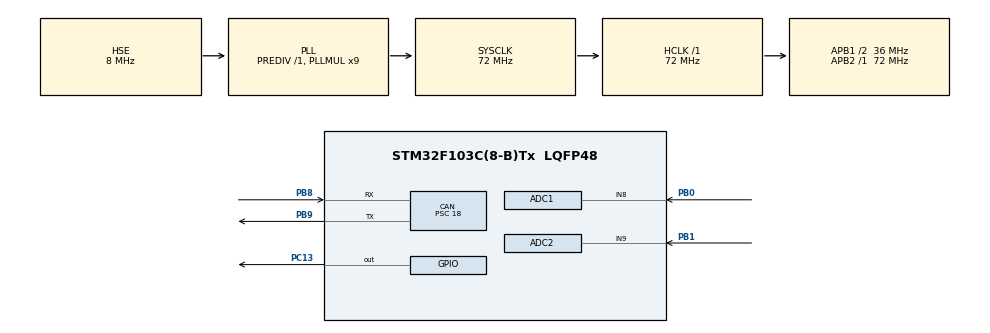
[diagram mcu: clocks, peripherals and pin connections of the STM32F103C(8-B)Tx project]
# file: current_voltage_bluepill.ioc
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ADC1.Channel-0\#ChannelRegularConversion=ADC_CHANNEL_8
ADC1.ContinuousConvMode=ENABLE
ADC1.NbrOfConversionFlag=1
ADC1.Rank-0\#ChannelRegularConversion=1
ADC1.SamplingTime-0\#ChannelRegularConversion=ADC_SAMPLETIME_1CYCLE_5
ADC1.master=1
ADC2.Channel-0\#ChannelRegularConversion=ADC_CHANNEL_9
ADC2.ContinuousConvMode=ENABLE
ADC2.NbrOfConversionFlag=1
ADC2.Rank-0\#ChannelRegularConversion=1
ADC2.SamplingTime-0\#ChannelRegularConversion=ADC_SAMPLETIME_1CYCLE_5
CAN.BS1=CAN_BS1_2TQ
CAN.CalculateBaudRate=500000
CAN.CalculateTimeBit=2000
CAN.CalculateTimeQuantum=500.0
CAN.Prescaler=18
Mcu.Family=STM32F1
Mcu.Name=STM32F103C(8-B)Tx
Mcu.Package=LQFP48
NVIC.PriorityGroup=NVIC_PRIORITYGROUP_4
PB0.Signal=ADCx_IN8
PB1.Signal=ADCx_IN9
PB8.Mode=CAN_Activate
PB8.Signal=CAN_RX
PB9.Mode=CAN_Activate
PB9.Signal=CAN_TX
PC13-TAMPER-RTC.Signal=GPIO_Output
PD0-OSC_IN.Mode=HSE-External-Oscillator
PD0-OSC_IN.Signal=RCC_OSC_IN
PD1-OSC_OUT.Mode=HSE-External-Oscillator
PD1-OSC_OUT.Signal=RCC_OSC_OUT
ProjectManager.HeapSize=0x200
ProjectManager.StackSize=0x400
ProjectManager.TargetToolchain=STM32CubeIDE
RCC.ADCPresc=RCC_ADCPCLK2_DIV6
RCC.AHBFreq_Value=72000000
RCC.APB1CLKDivider=RCC_HCLK_DIV2
RCC.APB1Freq_Value=36000000
RCC.APB1TimFreq_Value=72000000
RCC.APB2Freq_Value=72000000
RCC.APB2TimFreq_Value=72000000
RCC.HCLKFreq_Value=72000000
RCC.PLLMUL=RCC_PLL_MUL9
RCC.PLLSourceVirtual=RCC_PLLSOURCE_HSE
RCC.SYSCLKFreq_VALUE=72000000
RCC.SYSCLKSource=RCC_SYSCLKSOURCE_PLLCLK
RCC.USBFreq_Value=72000000
SH.ADCx_IN8.0=ADC1_IN8,IN8
SH.ADCx_IN9.0=ADC2_IN9,IN9
VP_SYS_VS_ND.Mode=No_Debug
board=custom

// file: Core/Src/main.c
/* USER CODE BEGIN Header */
/**
  ******************************************************************************
  * @file           : main.c
  * @brief          : Main program body
  ******************************************************************************
  * @attention
  *
  * Copyright (c) 2024 STMicroelectronics.
  * All rights reserved.
  *
  * This software is licensed under terms that can be found in the LICENSE file
  * in the root directory of this software component.
  * If no LICENSE file comes with this software, it is provided AS-IS.
  *
  ******************************************************************************
  */
/* USER CODE END Header */
#include "main.h"

ADC_HandleTypeDef hadc1;
ADC_HandleTypeDef hadc2;

CAN_HandleTypeDef hcan;

/* USER CODE BEGIN PV */
float AcsValueF;
float sensitivity = 0.066; // 0.1 for 20A Model
float rawVoltage;
float current;
uint16_t readValue;
int Switch_Flag = 0;
CAN_TxHeaderTypeDef TxHeader;
uint8_t TxData[4];
uint32_t TxMailBox;
uint32_t random_seed = 0; // Initialize a seed value

/* USER CODE END PV */

void SystemClock_Config(void);
static void MX_GPIO_Init(void);
static void MX_ADC1_Init(void);
static void MX_ADC2_Init(void);
static void MX_CAN_Init(void);
/* USER CODE BEGIN PFP */
// Function to generate a pseudo-random number
uint32_t generate_random_number() {
    // Using a simple linear congruential generator
    random_seed = (random_seed * 1103515245 + 12345) & 0x7FFFFFFF;
    return random_seed;
}

// Function to generate a random number within the range 20 to 60
uint32_t generate_random_in_range() {
    return generate_random_number() % 41 + 20; // 41 is the range (60-20+1)
}
/* USER CODE END PFP */

int main(void)
{

  /* MCU Configuration--------------------------------------------------------*/

  /* Reset of all peripherals, Initializes the Flash interface and the Systick. */
  HAL_Init();

  /* Configure the system clock */
  SystemClock_Config();

  /* Initialize all configured peripherals */
  MX_GPIO_Init();
  MX_ADC1_Init();
  MX_ADC2_Init();
  MX_CAN_Init();
  /* USER CODE BEGIN 2 */
  HAL_ADC_Start(&hadc1);
  HAL_ADC_Start(&hadc2);
  HAL_CAN_Start(&hcan);
  HAL_CAN_ActivateNotification(&hcan, CAN_IT_RX_FIFO0_MSG_PENDING);

  TxHeader.DLC=4;
  TxHeader.RTR=CAN_RTR_DATA;
  TxHeader.IDE=CAN_ID_STD;
  TxHeader.ExtId=0x0;
  TxHeader.StdId=0x0AA;
  TxHeader.TransmitGlobalTime=DISABLE;
  Switch_Flag = 1;

  random_seed = 20;
  /* USER CODE END 2 */

  /* Infinite loop */
  /* USER CODE BEGIN WHILE */
  while (1)
  {
	  uint8_t random_value = generate_random_in_range();
	  float Voltage = 0.0, Samples = 0.0, AvgVol = 0.0;
	  HAL_ADC_Start(&hadc1);
	  HAL_ADC_PollForConversion(&hadc1,1000);
	  readValue = HAL_ADC_GetValue(&hadc1);
	  rawVoltage = (float) readValue * 3.3 * 2 / 4095 * 5.56334;
	  // If rawVoltage is not 2.5Volt, multiply by a factor.In my case it is 1.035
	  // This is due to tolerance in voltage divider resister & ADC accuracy
	  current =(rawVoltage - 2.5)/sensitivity;

	  HAL_ADC_Start(&hadc2);
	  HAL_ADC_PollForConversion(&hadc2,1000);
	  for (int x = 0; x < 150; x++)
	  {
		Voltage = HAL_ADC_GetValue(&hadc2); // Assuming you're using ADC1
		Samples = Samples + Voltage;
		HAL_Delay(3);
	  }
	  AvgVol = Samples / 150.0;

	  AcsValueF = (2.5 - (AvgVol * (3.3 / 4095.0))) / 0.185;
	  HAL_Delay(100);

	  if(Switch_Flag == 1){
	  if (HAL_CAN_AddTxMessage(&hcan, &TxHeader, TxData, &TxMailBox) != HAL_OK)
		Error_Handler();
	  HAL_GPIO_TogglePin(GPIOC, GPIO_PIN_13);
	  HAL_Delay(500);

	  TxData[0] = (uint8_t)AcsValueF;
	  TxData[1]	= (uint8_t)current;
	  TxData[2] = (uint8_t)random_value;
	  TxData[3] = 233;
	  }
	  AcsValueF = 0;
    /* USER CODE END WHILE */

  }
}

void SystemClock_Config(void)
{
  RCC_OscInitTypeDef RCC_OscInitStruct = {0};
  RCC_ClkInitTypeDef RCC_ClkInitStruct = {0};
  RCC_PeriphCLKInitTypeDef PeriphClkInit = {0};

  /** Initializes the RCC Oscillators according to the specified parameters
  * in the RCC_OscInitTypeDef structure.
  */
  RCC_OscInitStruct.OscillatorType = RCC_OSCILLATORTYPE_HSE;
  RCC_OscInitStruct.HSEState = RCC_HSE_ON;
  RCC_OscInitStruct.HSEPredivValue = RCC_HSE_PREDIV_DIV1;
  RCC_OscInitStruct.HSIState = RCC_HSI_ON;
  RCC_OscInitStruct.PLL.PLLState = RCC_PLL_ON;
  RCC_OscInitStruct.PLL.PLLSource = RCC_PLLSOURCE_HSE;
  RCC_OscInitStruct.PLL.PLLMUL = RCC_PLL_MUL9;
  if (HAL_RCC_OscConfig(&RCC_OscInitStruct) != HAL_OK)
  {
    Error_Handler();
  }

  /** Initializes the CPU, AHB and APB buses clocks
  */
  RCC_ClkInitStruct.ClockType = RCC_CLOCKTYPE_HCLK|RCC_CLOCKTYPE_SYSCLK
                              |RCC_CLOCKTYPE_PCLK1|RCC_CLOCKTYPE_PCLK2;
  RCC_ClkInitStruct.SYSCLKSource = RCC_SYSCLKSOURCE_PLLCLK;
  RCC_ClkInitStruct.AHBCLKDivider = RCC_SYSCLK_DIV1;
  RCC_ClkInitStruct.APB1CLKDivider = RCC_HCLK_DIV2;
  RCC_ClkInitStruct.APB2CLKDivider = RCC_HCLK_DIV1;

  if (HAL_RCC_ClockConfig(&RCC_ClkInitStruct, FLASH_LATENCY_2) != HAL_OK)
  {
    Error_Handler();
  }
  PeriphClkInit.PeriphClockSelection = RCC_PERIPHCLK_ADC;
  PeriphClkInit.AdcClockSelection = RCC_ADCPCLK2_DIV6;
  if (HAL_RCCEx_PeriphCLKConfig(&PeriphClkInit) != HAL_OK)
  {
    Error_Handler();
  }
}

static void MX_ADC1_Init(void)
{

  ADC_ChannelConfTypeDef sConfig = {0};

  /** Common config
  */
  hadc1.Instance = ADC1;
  hadc1.Init.ScanConvMode = ADC_SCAN_DISABLE;
  hadc1.Init.ContinuousConvMode = ENABLE;
  hadc1.Init.DiscontinuousConvMode = DISABLE;
  hadc1.Init.ExternalTrigConv = ADC_SOFTWARE_START;
  hadc1.Init.DataAlign = ADC_DATAALIGN_RIGHT;
  hadc1.Init.NbrOfConversion = 1;
  if (HAL_ADC_Init(&hadc1) != HAL_OK)
  {
    Error_Handler();
  }

  /** Configure Regular Channel
  */
  sConfig.Channel = ADC_CHANNEL_8;
  sConfig.Rank = ADC_REGULAR_RANK_1;
  sConfig.SamplingTime = ADC_SAMPLETIME_1CYCLE_5;
  if (HAL_ADC_ConfigChannel(&hadc1, &sConfig) != HAL_OK)
  {
    Error_Handler();
  }

}

static void MX_ADC2_Init(void)
{

  ADC_ChannelConfTypeDef sConfig = {0};

  /** Common config
  */
  hadc2.Instance = ADC2;
  hadc2.Init.ScanConvMode = ADC_SCAN_DISABLE;
  hadc2.Init.ContinuousConvMode = ENABLE;
  hadc2.Init.DiscontinuousConvMode = DISABLE;
  hadc2.Init.ExternalTrigConv = ADC_SOFTWARE_START;
  hadc2.Init.DataAlign = ADC_DATAALIGN_RIGHT;
  hadc2.Init.NbrOfConversion = 1;
  if (HAL_ADC_Init(&hadc2) != HAL_OK)
  {
    Error_Handler();
  }

  /** Configure Regular Channel
  */
  sConfig.Channel = ADC_CHANNEL_9;
  sConfig.Rank = ADC_REGULAR_RANK_1;
  sConfig.SamplingTime = ADC_SAMPLETIME_1CYCLE_5;
  if (HAL_ADC_ConfigChannel(&hadc2, &sConfig) != HAL_OK)
  {
    Error_Handler();
  }

}

static void MX_CAN_Init(void)
{

  hcan.Instance = CAN1;
  hcan.Init.Prescaler = 18;
  hcan.Init.Mode = CAN_MODE_NORMAL;
  hcan.Init.SyncJumpWidth = CAN_SJW_1TQ;
  hcan.Init.TimeSeg1 = CAN_BS1_2TQ;
  hcan.Init.TimeSeg2 = CAN_BS2_1TQ;
  hcan.Init.TimeTriggeredMode = DISABLE;
  hcan.Init.AutoBusOff = DISABLE;
  hcan.Init.AutoWakeUp = DISABLE;
  hcan.Init.AutoRetransmission = DISABLE;
  hcan.Init.ReceiveFifoLocked = DISABLE;
  hcan.Init.TransmitFifoPriority = DISABLE;
  if (HAL_CAN_Init(&hcan) != HAL_OK)
  {
    Error_Handler();
  }
  /* USER CODE BEGIN CAN_Init 2 */
  CAN_FilterTypeDef canFilterConfig;
      canFilterConfig.FilterActivation=CAN_FILTER_ENABLE;
      canFilterConfig.SlaveStartFilterBank=14;
      canFilterConfig.FilterBank=2;
      canFilterConfig.FilterFIFOAssignment=CAN_RX_FIFO0;
      canFilterConfig.FilterScale=CAN_FILTERSCALE_32BIT;
      canFilterConfig.FilterMode=CAN_FILTERMODE_IDMASK;
      canFilterConfig.FilterMaskIdLow=0x0000;
      canFilterConfig.FilterMaskIdHigh=0xFF00;
      canFilterConfig.FilterIdLow=0x0000;
      canFilterConfig.FilterIdHigh=0x1500;
      HAL_CAN_ConfigFilter(&hcan, &canFilterConfig);
  /* USER CODE END CAN_Init 2 */

}

static void MX_GPIO_Init(void)
{
  GPIO_InitTypeDef GPIO_InitStruct = {0};

  /* GPIO Ports Clock Enable */
  __HAL_RCC_GPIOC_CLK_ENABLE();
  __HAL_RCC_GPIOD_CLK_ENABLE();
  __HAL_RCC_GPIOB_CLK_ENABLE();

  /*Configure GPIO pin Output Level */
  HAL_GPIO_WritePin(GPIOC, GPIO_PIN_13, GPIO_PIN_RESET);

  /*Configure GPIO pin : PC13 */
  GPIO_InitStruct.Pin = GPIO_PIN_13;
  GPIO_InitStruct.Mode = GPIO_MODE_OUTPUT_PP;
  GPIO_InitStruct.Pull = GPIO_NOPULL;
  GPIO_InitStruct.Speed = GPIO_SPEED_FREQ_LOW;
  HAL_GPIO_Init(GPIOC, &GPIO_InitStruct);

}

void Error_Handler(void)
{
  __disable_irq();
  while (1)
  {
  }
}
